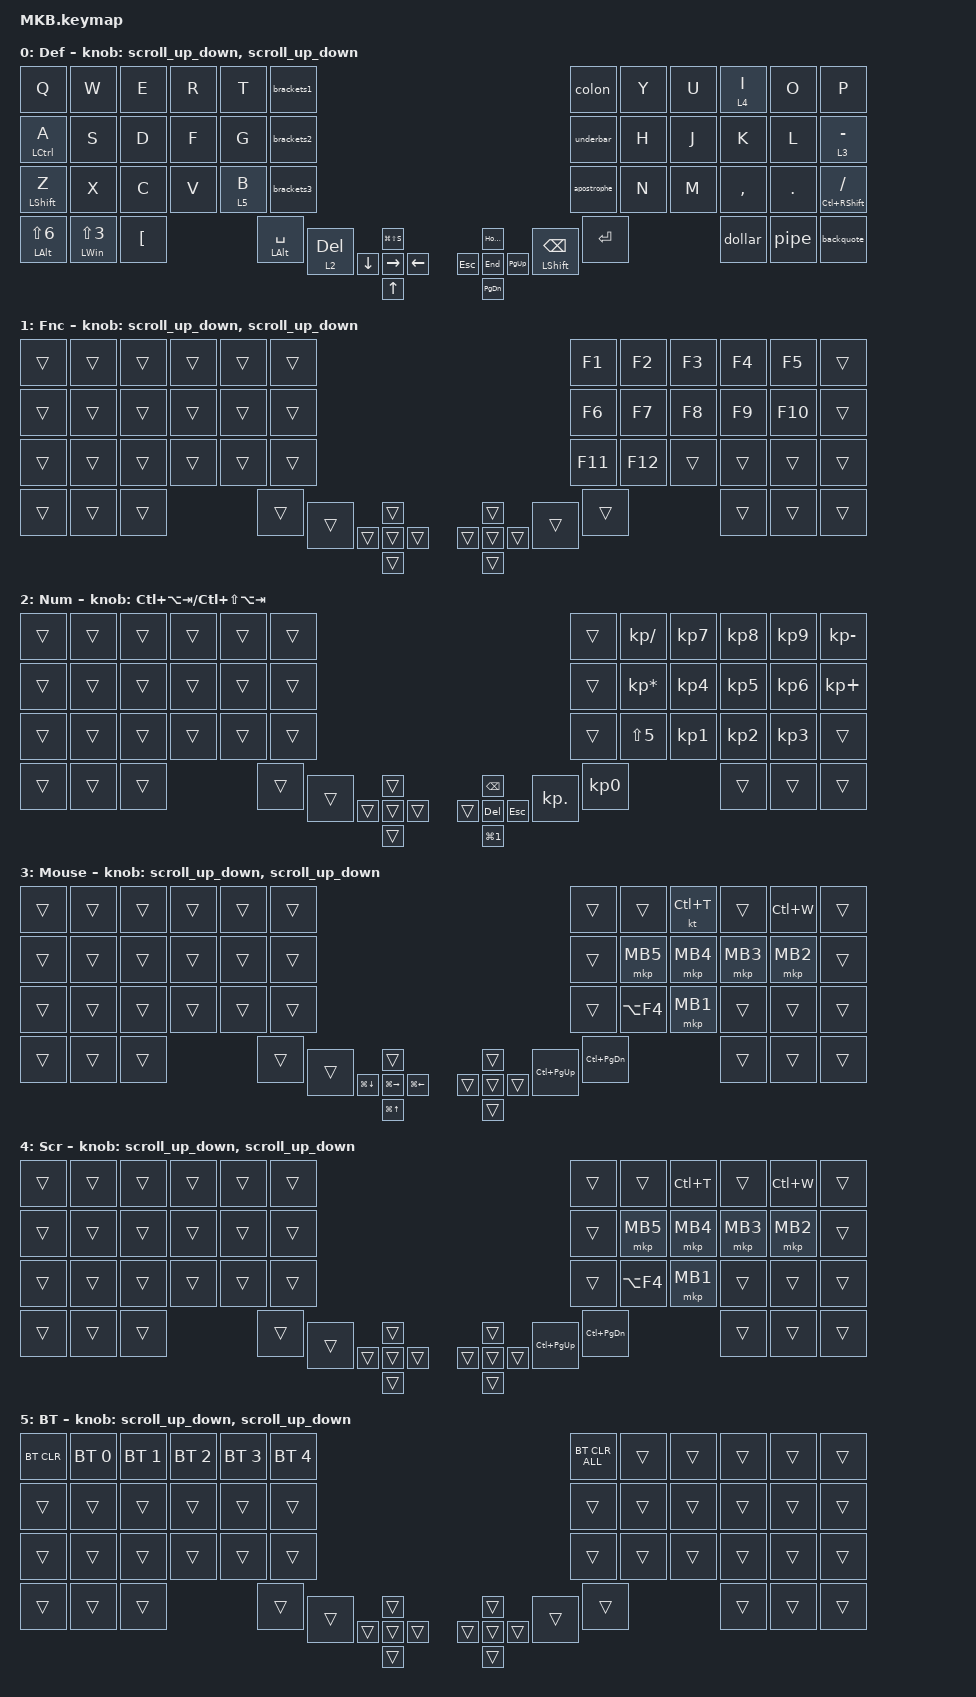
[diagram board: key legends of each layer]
// #include <layout_shift.dtsi>

#define ZMK_POINTING_DEFAULT_SCRL_VAL 100

#include <layout_shift_kp_override.dtsi>
#include <behaviors.dtsi>
#include <dt-bindings/zmk/bt.h>
#include <dt-bindings/zmk/keys.h>
#include <dt-bindings/zmk/pointing.h>

#define DEF 0
#define FUNC 1
#define NUM 2
#define MOUSE 3
#define SCROLL 4
#define BT 5

&mt {
    flavor = "balanced";
    tapping-term-ms = <280>;
    quick-tap-ms = <175>;
    require-prior-idle-ms = <150>;
};

/ {
    combos {
        compatible = "zmk,combos";

        tab {
            bindings = <&kp TAB>;
            key-positions = <13 14>;
        };

        CA {
            bindings = <&kp LC(A)>;
            key-positions = <12 13>;
        };

        f2 {
            bindings = <&kp F2>;
            key-positions = <21 22>;
        };

        cz {
            bindings = <&kp LC(Z)>;
            key-positions = <24 25>;
        };

        henkan {
            bindings = <&kp INT_HENKAN>;
            key-positions = <9 10>;
        };

        muhenkan {
            bindings = <&kp INT_MUHENKAN>;
            key-positions = <1 2>;
        };

        cy {
            bindings = <&kp LC(Y)>;
            key-positions = <0 1>;
        };

        alr+ent {
            bindings = <&kp LA(ENTER)>;
            key-positions = <41 42>;
        };

        cc {
            bindings = <&kp LC(C)>;
            key-positions = <14 15>;
        };

        cv {
            bindings = <&kp LC(V)>;
            key-positions = <26 27>;
        };

        cav {
            bindings = <&cavve>;
            key-positions = <2 3>;
        };
    };

    macros {
        cavve: cavve {
            compatible = "zmk,behavior-macro";
            #binding-cells = <0>;
            bindings = <&kp LA(LC(V)) &kp V &kp ENTER>;
            label = "CAVVE";
        };
    };

    behaviors {
        scroll_up_down: behavior_sensor_rotate_mouse_wheel_up_down {
            compatible = "zmk,behavior-sensor-rotate";
            #sensor-binding-cells = <0>;
            bindings = <&msc SCRL_UP>, <&msc SCRL_DOWN>;

            tap-ms = <20>;
        };

        brackets1: brackets1 {
            compatible = "zmk,behavior-tap-dance";
            label = "BRACKETS1";
            #binding-cells = <0>;
            bindings = <&kp LS(N8)>, <&kp LS(N9)>;
        };

        brackets2: brackets2 {
            compatible = "zmk,behavior-tap-dance";
            label = "BRACKETS2";
            #binding-cells = <0>;
            bindings = <&kp LS(RIGHT_BRACKET)>, <&kp LS(NON_US_HASH)>;
        };

        brackets3: brackets3 {
            compatible = "zmk,behavior-tap-dance";
            label = "BRACKETS3";
            #binding-cells = <0>;
            bindings = <&kp RIGHT_BRACKET>, <&kp NON_US_HASH>;
        };

        colon: colon {
            compatible = "zmk,behavior-tap-dance";
            label = "COLON";
            #binding-cells = <0>;
            bindings = <&kp SQT>, <&kp SEMI>;
        };

        underbar: underbar {
            compatible = "zmk,behavior-tap-dance";
            label = "UNDERBAR";
            #binding-cells = <0>;
            bindings = <&kp LS(INT_RO)>, <&kp LS(N1)>;
        };

        apostrophe: apostrophe {
            compatible = "zmk,behavior-tap-dance";
            label = "APOSTROPHE";
            #binding-cells = <0>;
            bindings = <&kp LS(N7)>, <&kp LS(N2)>;
        };

        dollar: dollar {
            compatible = "zmk,behavior-tap-dance";
            label = "DOLLAR";
            #binding-cells = <0>;
            bindings = <&kp LS(N4)>, <&kp INT3>;
        };

        pipe: pipe {
            compatible = "zmk,behavior-tap-dance";
            label = "PIPE";
            #binding-cells = <0>;
            bindings = <&kp LS(INT3)>;
        };

        backquote: backquote {
            compatible = "zmk,behavior-tap-dance";
            label = "BACKQUOTE";
            #binding-cells = <0>;
            bindings = <&kp LS(LEFT_BRACKET)>, <&kp EQUAL>;
        };
    };

    keymap {
        compatible = "zmk,keymap";

        default_layer {
            label = "Def";
            bindings = <
&kp Q                &kp W                &kp E             &kp R     &kp T               &brackets1        &colon                    &kp Y      &kp U      &lt 4 I     &kp O      &kp P
&mt LCTRL A          &kp S                &kp D             &kp F     &kp G               &brackets2        &underbar                 &kp H      &kp J      &kp K       &kp L      &lt 3 MINUS
&mt LEFT_SHIFT Z     &kp X                &kp C             &kp V     &lt 5 B             &brackets3        &apostrophe               &kp N      &kp M      &kp COMMA   &kp DOT    &mt LC(RIGHT_SHIFT) FSLH
&mt LEFT_ALT LS(N6)  &mt LEFT_WIN LS(N3)  &kp LEFT_BRACKET            &mt LEFT_ALT SPACE  &lt 2 DELETE      &mt LEFT_SHIFT BACKSPACE  &kp ENTER             &dollar     &pipe      &backquote
&kp LEFT             &kp UP               &kp LG(LS(S))     &kp DOWN  &kp RIGHT                                                       &kp HOME   &kp PG_UP  &kp ESCAPE  &kp PG_DN  &kp END
            >;

            sensor-bindings = <&scroll_up_down &scroll_up_down>;
        };

        function_layer {
            label = "Fnc";
            bindings = <
&trans  &trans  &trans  &trans  &trans  &trans      &kp F1   &kp F2   &kp F3  &kp F4  &kp F5   &trans
&trans  &trans  &trans  &trans  &trans  &trans      &kp F6   &kp F7   &kp F8  &kp F9  &kp F10  &trans
&trans  &trans  &trans  &trans  &trans  &trans      &kp F11  &kp F12  &trans  &trans  &trans   &trans
&trans  &trans  &trans          &trans  &trans      &trans   &trans           &trans  &trans   &trans
&trans  &trans  &trans  &trans  &trans                       &trans   &trans  &trans  &trans   &trans
            >;

            sensor-bindings = <&scroll_up_down &scroll_up_down>;
        };

        num_layer {
            label = "Num";
            bindings = <
&trans  &trans  &trans  &trans  &trans  &trans      &trans      &kp KP_SLASH     &kp KP_N7  &kp KP_N8  &kp KP_N9   &kp KP_MINUS
&trans  &trans  &trans  &trans  &trans  &trans      &trans      &kp KP_MULTIPLY  &kp KP_N4  &kp KP_N5  &kp KP_N6   &kp KP_PLUS
&trans  &trans  &trans  &trans  &trans  &trans      &trans      &kp LS(N5)       &kp KP_N1  &kp KP_N2  &kp KP_N3   &trans
&trans  &trans  &trans          &trans  &trans      &kp KP_DOT  &kp KP_N0                   &trans     &trans      &trans
&trans  &trans  &trans  &trans  &trans                          &kp BACKSPACE    &kp ESC    &trans     &kp LG(N1)  &kp DELETE
            >;

            sensor-bindings = <&inc_dec_kp LC(LA(TAB)) LC(LS(LA(TAB)))>;
        };

        mouse_layer {
            label = "Mouse";
            bindings = <
&trans              &trans            &trans  &trans              &trans               &trans      &trans         &trans         &kt LC(T)  &trans    &kp LC(W)  &trans
&trans              &trans            &trans  &trans              &trans               &trans      &trans         &mkp MB5       &mkp MB4   &mkp MB3  &mkp MB2   &trans
&trans              &trans            &trans  &trans              &trans               &trans      &trans         &kp LA(F4)     &mkp MB1   &trans    &trans     &trans
&trans              &trans            &trans                      &trans               &trans      &kp LC(PG_UP)  &kp LC(PG_DN)             &trans    &trans     &trans
&kp LG(LEFT_ARROW)  &kp LG(UP_ARROW)  &trans  &kp LG(DOWN_ARROW)  &kp LG(RIGHT_ARROW)                             &trans         &trans     &trans    &trans     &trans
            >;

            sensor-bindings = <&scroll_up_down &scroll_up_down>;
        };

        scroll_layer {
            label = "Scr";
            bindings = <
&trans  &trans  &trans  &trans  &trans  &trans      &trans         &trans             &kp LC(T)  &trans    &kp LC(W)  &trans
&trans  &trans  &trans  &trans  &trans  &trans      &trans         &mkp MB5           &mkp MB4   &mkp MB3  &mkp MB2   &trans
&trans  &trans  &trans  &trans  &trans  &trans      &trans         &kp LA(F4)         &mkp MB1   &trans    &trans     &trans
&trans  &trans  &trans          &trans  &trans      &kp LC(PG_UP)  &kp LC(PAGE_DOWN)             &trans    &trans     &trans
&trans  &trans  &trans  &trans  &trans                             &trans             &trans     &trans    &trans     &trans
            >;

            sensor-bindings = <&scroll_up_down &scroll_up_down>;
        };

        bt_layer {
            label = "BT";
            bindings = <
&bt BT_CLR  &bt BT_SEL 0  &bt BT_SEL 1  &bt BT_SEL 2  &bt BT_SEL 3  &bt BT_SEL 4      &bt BT_CLR_ALL  &trans  &trans  &trans  &trans  &trans
&trans      &trans        &trans        &trans        &trans        &trans            &trans          &trans  &trans  &trans  &trans  &trans
&trans      &trans        &trans        &trans        &trans        &trans            &trans          &trans  &trans  &trans  &trans  &trans
&trans      &trans        &trans                      &trans        &trans            &trans          &trans          &trans  &trans  &trans
&trans      &trans        &trans        &trans        &trans                                          &trans  &trans  &trans  &trans  &trans
            >;

            sensor-bindings = <&scroll_up_down &scroll_up_down>;
        };
    };
};
